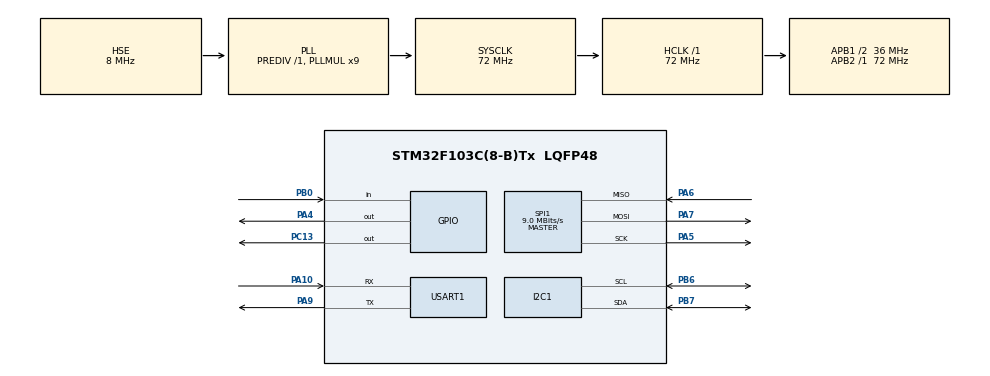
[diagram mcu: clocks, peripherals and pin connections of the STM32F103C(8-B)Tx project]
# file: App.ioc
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Dma.Request0=USART1_RX
Dma.USART1_RX.0.Direction=DMA_PERIPH_TO_MEMORY
Dma.USART1_RX.0.Instance=DMA1_Channel5
Dma.USART1_RX.0.MemDataAlignment=DMA_MDATAALIGN_BYTE
Dma.USART1_RX.0.MemInc=DMA_MINC_ENABLE
Dma.USART1_RX.0.Mode=DMA_NORMAL
Dma.USART1_RX.0.PeriphDataAlignment=DMA_PDATAALIGN_BYTE
Dma.USART1_RX.0.PeriphInc=DMA_PINC_DISABLE
Dma.USART1_RX.0.Priority=DMA_PRIORITY_LOW
IWDG.Prescaler=IWDG_PRESCALER_64
IWDG.Reload=1875
Mcu.Family=STM32F1
Mcu.Name=STM32F103C(8-B)Tx
Mcu.Package=LQFP48
NVIC.DMA1_Channel5_IRQn=true\:0\:0\:false\:false\:true\:false\:true\:true
NVIC.PriorityGroup=NVIC_PRIORITYGROUP_4
NVIC.USART1_IRQn=true\:0\:0\:false\:false\:true\:true\:true\:true
PA10.Mode=Asynchronous
PA10.Signal=USART1_RX
PA13.Mode=Serial_Wire
PA13.Signal=SYS_JTMS-SWDIO
PA14.Mode=Serial_Wire
PA14.Signal=SYS_JTCK-SWCLK
PA4.PinState=GPIO_PIN_SET
PA4.Signal=GPIO_Output
PA5.Mode=Full_Duplex_Master
PA5.Signal=SPI1_SCK
PA6.Mode=Full_Duplex_Master
PA6.Signal=SPI1_MISO
PA7.Mode=Full_Duplex_Master
PA7.Signal=SPI1_MOSI
PA9.Mode=Asynchronous
PA9.Signal=USART1_TX
PB0.GPIO_PuPd=GPIO_PULLUP
PB0.Signal=GPIO_Input
PB6.Mode=I2C
PB6.Signal=I2C1_SCL
PB7.Mode=I2C
PB7.Signal=I2C1_SDA
PC13-TAMPER-RTC.Signal=GPIO_Output
PD0-OSC_IN.Mode=HSE-External-Oscillator
PD0-OSC_IN.Signal=RCC_OSC_IN
PD1-OSC_OUT.Mode=HSE-External-Oscillator
PD1-OSC_OUT.Signal=RCC_OSC_OUT
ProjectManager.HeapSize=0x200
ProjectManager.StackSize=0x400
ProjectManager.TargetToolchain=MDK-ARM V5.32
RCC.AHBFreq_Value=72000000
RCC.APB1CLKDivider=RCC_HCLK_DIV2
RCC.APB1Freq_Value=36000000
RCC.APB1TimFreq_Value=72000000
RCC.APB2Freq_Value=72000000
RCC.APB2TimFreq_Value=72000000
RCC.HCLKFreq_Value=72000000
RCC.PLLMUL=RCC_PLL_MUL9
RCC.PLLSourceVirtual=RCC_PLLSOURCE_HSE
RCC.SYSCLKFreq_VALUE=72000000
RCC.SYSCLKSource=RCC_SYSCLKSOURCE_PLLCLK
RCC.USBFreq_Value=72000000
SPI1.BaudRatePrescaler=SPI_BAUDRATEPRESCALER_8
SPI1.CalculateBaudRate=9.0 MBits/s
SPI1.Direction=SPI_DIRECTION_2LINES
SPI1.Mode=SPI_MODE_MASTER
SPI1.VirtualType=VM_MASTER
USART1.VirtualMode=VM_ASYNC
VP_IWDG_VS_IWDG.Mode=IWDG_Activate
board=custom

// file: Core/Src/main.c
/* USER CODE BEGIN Header */
/**
  ******************************************************************************
  * @file           : main.c
  * @brief          : Main program body
  ******************************************************************************
  * @attention
  *
  * Copyright (c) 2026 STMicroelectronics.
  * All rights reserved.
  *
  * This software is licensed under terms that can be found in the LICENSE file
  * in the root directory of this software component.
  * If no LICENSE file comes with this software, it is provided AS-IS.
  *
  ******************************************************************************
  */
/* USER CODE END Header */
#include "main.h"
#include "dma.h"
#include "i2c.h"
#include "iwdg.h"
#include "spi.h"
#include "usart.h"
#include "gpio.h"

/* USER CODE BEGIN Includes */
#include <stdio.h>
#include <string.h>
#include "w25q64.h"
#include "ota_recv.h"
#include "app_version.h"
#include "ota.h"
/* USER CODE END Includes */

/* USER CODE BEGIN PD */
/* 看门狗回滚演示开关:去掉下一行的 // = 编成“卡死坏固件”,演示完再加回 // */
//#define SIMULATE_HANG
/* USER CODE END PD */

/* USER CODE BEGIN PV */
/* 固件信息�?:版本唯一来源,上位机从 bin 中按魔数扫描读取 */
const volatile fw_info_t g_fw_info = { FW_INFO_MAGIC0, FW_INFO_MAGIC1, APP_VERSION_WORD };
/* USER CODE END PV */

void SystemClock_Config(void);

int main(void)
{
  /* USER CODE BEGIN 1 */
	SCB->VTOR = 0x08004000UL;
	__enable_irq();
  /* USER CODE END 1 */

  /* MCU Configuration--------------------------------------------------------*/

  /* Reset of all peripherals, Initializes the Flash interface and the Systick. */
  HAL_Init();

  /* Configure the system clock */
  SystemClock_Config();

  /* Initialize all configured peripherals */
  MX_GPIO_Init();
  MX_DMA_Init();
  MX_I2C1_Init();
  MX_SPI1_Init();
  MX_USART1_UART_Init();
  MX_IWDG_Init();
  /* USER CODE BEGIN 2 */
  printf("\r\n[App] Firmware v%lu.%lu running.\r\n",
         (unsigned long)(g_fw_info.version >> 16),
         (unsigned long)(g_fw_info.version & 0xFFFF));

  if (W25_Init() != 0) {
    printf("[App] W25Q64 NOT found!\r\n");
    Error_Handler();
  }
  OTA_RecvInit();

#ifdef SIMULATE_HANG
  /* 演示用坏固件:卡死且不喂狗 �? IWDG 超时复位 �? Boot �?测未确认 �? 回滚 */
  printf("[App] !! SIMULATE_HANG: dead loop, not feeding watchdog !!\r\n");
  while (1) { }
#endif

  OTA_ConfirmBoot();    /* 跑到这里说明新固件启动成�?,擦除试运行标�? */
  printf("[App] OTA receiver ready.\r\n");
  /* USER CODE END 2 */

  /* Infinite loop */
  /* USER CODE BEGIN WHILE */
  uint32_t led_tick = 0;
  while (1)
  {
    OTA_RecvPoll();
    OTA_FEED_WDG();           /* 正常运行持续喂狗;卡死则喂不到,触发 IWDG 复位 */
    if (HAL_GetTick() - led_tick >= 100) {
      led_tick = HAL_GetTick();
      HAL_GPIO_TogglePin(GPIOC, GPIO_PIN_13);
    }
    /* USER CODE END WHILE */

  }
}

void SystemClock_Config(void)
{
  RCC_OscInitTypeDef RCC_OscInitStruct = {0};
  RCC_ClkInitTypeDef RCC_ClkInitStruct = {0};

  /** Initializes the RCC Oscillators according to the specified parameters
  * in the RCC_OscInitTypeDef structure.
  */
  RCC_OscInitStruct.OscillatorType = RCC_OSCILLATORTYPE_LSI|RCC_OSCILLATORTYPE_HSE;
  RCC_OscInitStruct.HSEState = RCC_HSE_ON;
  RCC_OscInitStruct.HSEPredivValue = RCC_HSE_PREDIV_DIV1;
  RCC_OscInitStruct.HSIState = RCC_HSI_ON;
  RCC_OscInitStruct.LSIState = RCC_LSI_ON;
  RCC_OscInitStruct.PLL.PLLState = RCC_PLL_ON;
  RCC_OscInitStruct.PLL.PLLSource = RCC_PLLSOURCE_HSE;
  RCC_OscInitStruct.PLL.PLLMUL = RCC_PLL_MUL9;
  if (HAL_RCC_OscConfig(&RCC_OscInitStruct) != HAL_OK)
  {
    Error_Handler();
  }

  /** Initializes the CPU, AHB and APB buses clocks
  */
  RCC_ClkInitStruct.ClockType = RCC_CLOCKTYPE_HCLK|RCC_CLOCKTYPE_SYSCLK
                              |RCC_CLOCKTYPE_PCLK1|RCC_CLOCKTYPE_PCLK2;
  RCC_ClkInitStruct.SYSCLKSource = RCC_SYSCLKSOURCE_PLLCLK;
  RCC_ClkInitStruct.AHBCLKDivider = RCC_SYSCLK_DIV1;
  RCC_ClkInitStruct.APB1CLKDivider = RCC_HCLK_DIV2;
  RCC_ClkInitStruct.APB2CLKDivider = RCC_HCLK_DIV1;

  if (HAL_RCC_ClockConfig(&RCC_ClkInitStruct, FLASH_LATENCY_2) != HAL_OK)
  {
    Error_Handler();
  }
}

void Error_Handler(void)
{
  __disable_irq();
  while (1)
  {
  }
}
